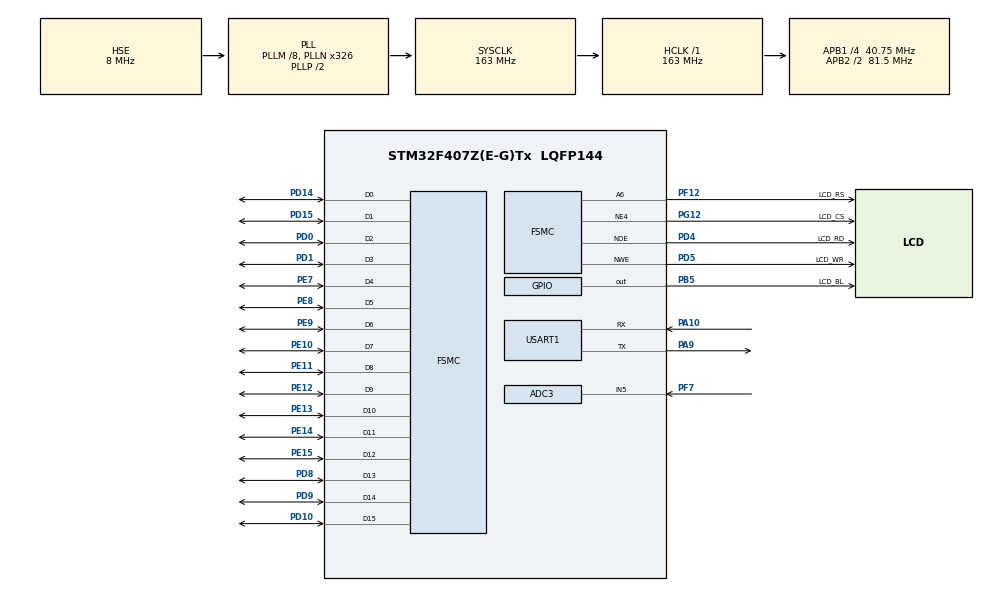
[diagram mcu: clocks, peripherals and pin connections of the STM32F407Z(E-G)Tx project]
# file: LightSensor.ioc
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ADC3.Channel-0\#ChannelRegularConversion=ADC_CHANNEL_5
ADC3.NbrOfConversionFlag=1
ADC3.Rank-0\#ChannelRegularConversion=1
ADC3.SamplingTime-0\#ChannelRegularConversion=ADC_SAMPLETIME_3CYCLES
FSMC.DataSetupTime2=60
FSMC.ExtendedAddressSetupTime2=9
FSMC.ExtendedDataSetupTime2=9
FSMC.ExtendedMode2=FSMC_EXTENDED_MODE_ENABLE
Mcu.Family=STM32F4
Mcu.Name=STM32F407Z(E-G)Tx
Mcu.Package=LQFP144
NVIC.PriorityGroup=NVIC_PRIORITYGROUP_4
PA10.Mode=Asynchronous
PA10.Signal=USART1_RX
PA13.Mode=Serial_Wire
PA13.Signal=SYS_JTMS-SWDIO
PA14.Mode=Serial_Wire
PA14.Signal=SYS_JTCK-SWCLK
PA9.Mode=Asynchronous
PA9.Signal=USART1_TX
PB5.GPIO_Label=LCD_BL
PB5.GPIO_PuPd=GPIO_PULLDOWN
PB5.GPIO_Speed=GPIO_SPEED_FREQ_HIGH
PB5.PinState=GPIO_PIN_SET
PB5.Signal=GPIO_Output
PD0.Signal=FSMC_D2_DA2
PD1.Signal=FSMC_D3_DA3
PD10.Signal=FSMC_D15_DA15
PD14.Signal=FSMC_D0_DA0
PD15.Signal=FSMC_D1_DA1
PD4.GPIO_Label=LCD_RD
PD4.GPIO_PuPd=GPIO_PULLUP
PD4.Signal=FSMC_NOE
PD5.GPIO_Label=LCD_WR
PD5.GPIO_PuPd=GPIO_PULLUP
PD5.Signal=FSMC_NWE
PD8.Signal=FSMC_D13_DA13
PD9.Signal=FSMC_D14_DA14
PE10.Signal=FSMC_D7_DA7
PE11.Signal=FSMC_D8_DA8
PE12.Signal=FSMC_D9_DA9
PE13.Signal=FSMC_D10_DA10
PE14.Signal=FSMC_D11_DA11
PE15.Signal=FSMC_D12_DA12
PE7.Signal=FSMC_D4_DA4
PE8.Signal=FSMC_D5_DA5
PE9.Signal=FSMC_D6_DA6
PF12.GPIO_Label=LCD_RS
PF12.GPIO_PuPd=GPIO_PULLUP
PF12.Signal=FSMC_A6
PF7.Mode=IN5
PF7.Signal=ADC3_IN5
PG12.GPIO_Label=LCD_CS
PG12.GPIO_PuPd=GPIO_PULLUP
PG12.Mode=NorPsramChipSelect4_2
PG12.Signal=FSMC_NE4
PH0-OSC_IN.Mode=HSE-External-Oscillator
PH0-OSC_IN.Signal=RCC_OSC_IN
PH1-OSC_OUT.Mode=HSE-External-Oscillator
PH1-OSC_OUT.Signal=RCC_OSC_OUT
ProjectManager.HeapSize=0x200
ProjectManager.StackSize=0x400
ProjectManager.TargetToolchain=MDK-ARM V5
RCC.48MHZClocksFreq_Value=81500000
RCC.AHBFreq_Value=163000000
RCC.APB1CLKDivider=RCC_HCLK_DIV4
RCC.APB1Freq_Value=40750000
RCC.APB1TimFreq_Value=81500000
RCC.APB2CLKDivider=RCC_HCLK_DIV2
RCC.APB2Freq_Value=81500000
RCC.APB2TimFreq_Value=163000000
RCC.CortexFreq_Value=163000000
RCC.HCLKFreq_Value=163000000
RCC.HSE_VALUE=8000000
RCC.HSI_VALUE=16000000
RCC.LSE_VALUE=32768
RCC.PLLM=8
RCC.PLLN=326
RCC.PLLSourceVirtual=RCC_PLLSOURCE_HSE
RCC.SYSCLKFreq_VALUE=163000000
RCC.SYSCLKSource=RCC_SYSCLKSOURCE_PLLCLK
RCC.VCOOutputFreq_Value=326000000
SH.FSMC_A6.0=FSMC_A6,A6_2
SH.FSMC_D0_DA0.0=FSMC_D0,16b-d2
SH.FSMC_D10_DA10.0=FSMC_D10,16b-d2
SH.FSMC_D11_DA11.0=FSMC_D11,16b-d2
SH.FSMC_D12_DA12.0=FSMC_D12,16b-d2
SH.FSMC_D13_DA13.0=FSMC_D13,16b-d2
SH.FSMC_D14_DA14.0=FSMC_D14,16b-d2
SH.FSMC_D15_DA15.0=FSMC_D15,16b-d2
SH.FSMC_D1_DA1.0=FSMC_D1,16b-d2
SH.FSMC_D2_DA2.0=FSMC_D2,16b-d2
SH.FSMC_D3_DA3.0=FSMC_D3,16b-d2
SH.FSMC_D4_DA4.0=FSMC_D4,16b-d2
SH.FSMC_D5_DA5.0=FSMC_D5,16b-d2
SH.FSMC_D6_DA6.0=FSMC_D6,16b-d2
SH.FSMC_D7_DA7.0=FSMC_D7,16b-d2
SH.FSMC_D8_DA8.0=FSMC_D8,16b-d2
SH.FSMC_D9_DA9.0=FSMC_D9,16b-d2
SH.FSMC_NOE.0=FSMC_NOE,Lcd2
SH.FSMC_NWE.0=FSMC_NWE,Lcd2
USART1.VirtualMode=VM_ASYNC
board=custom

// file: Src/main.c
/* USER CODE BEGIN Header */
/**
  ******************************************************************************
  * @file           : main.c
  * @brief          : Main program body
  ******************************************************************************
  * @attention
  *
  * <h2><center>&copy; Copyright (c) 2024 STMicroelectronics.
  * All rights reserved.</center></h2>
  *
  * This software component is licensed by ST under BSD 3-Clause license,
  * the "License"; You may not use this file except in compliance with the
  * License. You may obtain a copy of the License at:
  *                        opensource.org/licenses/BSD-3-Clause
  *
  ******************************************************************************
  */
/* USER CODE END Header */

#include "main.h"
#include "adc.h"
#include "usart.h"
#include "gpio.h"
#include "fsmc.h"

/* USER CODE BEGIN Includes */
#include "delay.h"
#include "lcd.h"
#include "lsens.h"  //lsens_init
/* USER CODE END Includes */

/* USER CODE BEGIN PV */
uint8_t lcd_id[12];
uint16_t colors[12] = {WHITE, BLACK, BLUE, RED, MAGENTA, GREEN, CYAN, YELLOW, BRRED, GRAY, LGRAY, BROWN};
uint8_t color_index = 0;
uint8_t cur_brightness;
uint8_t* str[23];

uint16_t adcx;
/* USER CODE END PV */

void SystemClock_Config(void);

int main(void)
{

  /* MCU Configuration--------------------------------------------------------*/

  /* Reset of all peripherals, Initializes the Flash interface and the Systick. */
  HAL_Init();

  /* Configure the system clock */
  SystemClock_Config();

  /* Initialize all configured peripherals */
  MX_GPIO_Init();
  MX_FSMC_Init();
  MX_USART1_UART_Init();
  MX_ADC3_Init();
  /* USER CODE BEGIN 2 */
  delay_init(168);                        /* 延时初始化 */
	lcd_init();                             /* 初始化LCD */
  g_point_color = RED;
  sprintf((char *)lcd_id, "LCD ID:%04X", lcddev.id);  /* 将LCD ID打印到lcd_id数组 */
	lcd_set_backlight_by_pwm(0xFF); // 设置占空比为255，开启背光最亮

	lcd_clear(colors[color_index]);  //清屏

	cur_brightness = lcd_get_backlight_by_pwm(); //获取当前背光值
	sprintf((char*)str, "current brightness:%3u", cur_brightness);

	lcd_show_string(10, 40, 240, 32, 32, "STM32", RED);
	lcd_show_string(10, 80, 240, 24, 24, "TFTLCD TEST", RED);
	lcd_show_string(10, 110, 240, 16, 16, "ATOM@ALIENTEK", RED);
	lcd_show_string(10, 130, 240, 16, 16, (char *)lcd_id, RED); /* 显示LCD ID */
	lcd_show_string(10, 150, 240, 16, 16, (char *)str, RED); /* 显示LCD ID */

	lsens_init();                           /* 初始化光敏传感器 */
  /* USER CODE END 2 */

  /* Infinite loop */
  /* USER CODE BEGIN WHILE */
  while (1)
  {
		adcx = lsens_get_val();                                 /* 获取ADC值 */
		lcd_show_xnum(30 + 10 * 8, 110, adcx, 3, 16, 0, BLUE);  /* 显示ADC的值 */
		delay_ms(250);
    /* USER CODE END WHILE */

  }
}

void SystemClock_Config(void)
{
  RCC_OscInitTypeDef RCC_OscInitStruct = {0};
  RCC_ClkInitTypeDef RCC_ClkInitStruct = {0};

  /** Configure the main internal regulator output voltage
  */
  __HAL_RCC_PWR_CLK_ENABLE();
  __HAL_PWR_VOLTAGESCALING_CONFIG(PWR_REGULATOR_VOLTAGE_SCALE1);
  /** Initializes the CPU, AHB and APB busses clocks
  */
  RCC_OscInitStruct.OscillatorType = RCC_OSCILLATORTYPE_HSE;
  RCC_OscInitStruct.HSEState = RCC_HSE_ON;
  RCC_OscInitStruct.PLL.PLLState = RCC_PLL_ON;
  RCC_OscInitStruct.PLL.PLLSource = RCC_PLLSOURCE_HSE;
  RCC_OscInitStruct.PLL.PLLM = 8;
  RCC_OscInitStruct.PLL.PLLN = 326;
  RCC_OscInitStruct.PLL.PLLP = RCC_PLLP_DIV2;
  RCC_OscInitStruct.PLL.PLLQ = 4;
  if (HAL_RCC_OscConfig(&RCC_OscInitStruct) != HAL_OK)
  {
    Error_Handler();
  }
  /** Initializes the CPU, AHB and APB busses clocks
  */
  RCC_ClkInitStruct.ClockType = RCC_CLOCKTYPE_HCLK|RCC_CLOCKTYPE_SYSCLK
                              |RCC_CLOCKTYPE_PCLK1|RCC_CLOCKTYPE_PCLK2;
  RCC_ClkInitStruct.SYSCLKSource = RCC_SYSCLKSOURCE_PLLCLK;
  RCC_ClkInitStruct.AHBCLKDivider = RCC_SYSCLK_DIV1;
  RCC_ClkInitStruct.APB1CLKDivider = RCC_HCLK_DIV4;
  RCC_ClkInitStruct.APB2CLKDivider = RCC_HCLK_DIV2;

  if (HAL_RCC_ClockConfig(&RCC_ClkInitStruct, FLASH_LATENCY_5) != HAL_OK)
  {
    Error_Handler();
  }
}

void Error_Handler(void)
{
}

/************************ (C) COPYRIGHT STMicroelectronics *****END OF FILE****/
